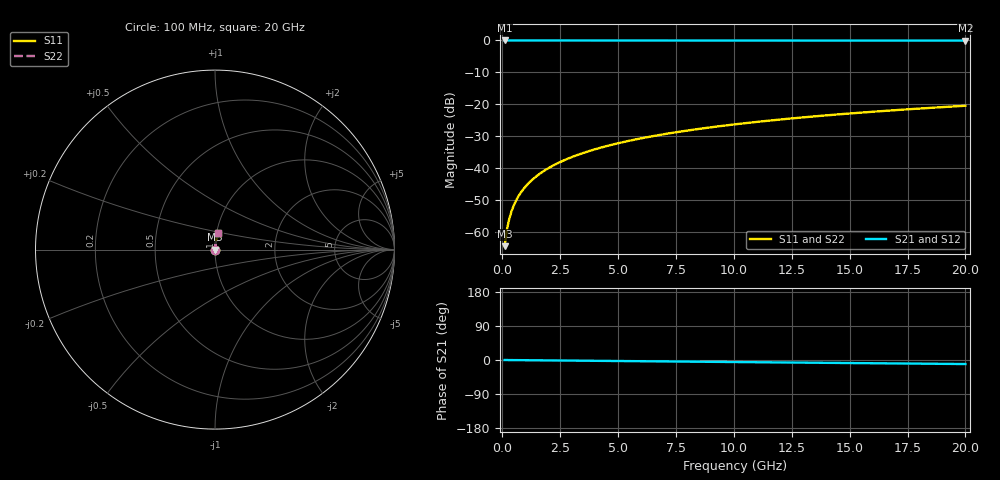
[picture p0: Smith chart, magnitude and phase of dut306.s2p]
! Touchstone file exported from HFSS 2026.1.0
!  File:  C:/ffzhzh/LocalFiles/Ansys_Project_Files/temp_train_TSV_306_1783017995_4048.aedt
!  Generated:  02:48:47 AM Jul  3, 2026
!  Design:  TSV
!  Project:  temp_train_TSV_306_1783017995_4048
! Variables:
!  h_bsmrdl = 2um
!  h_ox = 20um
!  h_rdl = 5um
!  h_sub = 86.7um
!  h_tmrdl = 5um
!  h_tsv = 86.7um
!  h_via = 3um
!  l_bsmrdl = 300um
!  l_sub = 412.58um
!  l_tmrdl = 200um
!  m_sub = 200um
!  pitch = 58.17um
!  r_tsv = 6.29um
!  s_tmrdl = 10um
!  w_bsmrdl = 18um
!  w_sub = 500um
!  w_tmrdl = 12um
!  x_tsv_center1 = 206um
!  x_tsv_center2 = 524um
!  x_tsv_center3 = 736um
!  x_tsv_center4 = 1054um
!  x_tsv_center5 = 1266um
!  x_tsv_center6 = 1584um
# GHz S MA R 50.000000
! Terminal data exported
! Port[1] = TSV1_1_T1
! Port[2] = TSV1_1_T2
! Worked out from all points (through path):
!   200 points, 100 MHz to 20 GHz, reference 50 ohm
!   highest |S21| = 0.00 dB at 100 MHz (marker M1); lowest = -0.1 dB at 20 GHz (marker M2)
!   group delay of S21, straight-line fit = 1.48 ps
!   lowest |S11| = -64.5 dB at 100 MHz (marker M3), VSWR 1.00, Z = 50 + j0.0521 ohm
!   |S11| at or under -10 dB: start of sweep to end of sweep
!   |S22| runs from -64.5 to -20.5 dB; largest |S21 - S12| = 2e-15
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0.1  0.0005931 61.5  0.9997 -0.1  0.9997 -0.1  0.0005931 61.5
! Gamma 0 0 0 0
! Port Impedance 50 0 50 0
0.2  0.001081 74.3  0.9997 -0.1  0.9997 -0.1  0.001081 74.3
0.3  0.001588 78.8  0.9997 -0.2  0.9997 -0.2  0.001588 78.8
0.4  0.002097 80.9  0.9997 -0.2  0.9997 -0.2  0.002097 80.9
0.5  0.002604 82.2  0.9997 -0.3  0.9997 -0.3  0.002604 82.2
0.6  0.003108 83.0  0.9996 -0.3  0.9996 -0.3  0.003108 83.0
0.7  0.003609 83.5  0.9996 -0.4  0.9996 -0.4  0.003609 83.5
0.8  0.004107 83.9  0.9996 -0.4  0.9996 -0.4  0.004107 83.9
1  0.005095 84.4  0.9995 -0.6  0.9995 -0.6  0.005095 84.4
1.4  0.007052 85.0  0.9995 -0.8  0.9995 -0.8  0.007052 85.0
1.7  0.008511 85.3  0.9994 -0.9  0.9994 -0.9  0.008511 85.3
2  0.009967 85.4  0.9993 -1.1  0.9993 -1.1  0.009967 85.4
2.7  0.01335 85.6  0.9992 -1.5  0.9992 -1.5  0.01335 85.6
3.5  0.01721 85.5  0.9991 -1.9  0.9991 -1.9  0.01721 85.5
4.2  0.02057 85.3  0.9989 -2.3  0.9989 -2.3  0.02057 85.3
5  0.0244 85.1  0.9988 -2.7  0.9988 -2.7  0.0244 85.1
6.8  0.03297 84.4  0.9984 -3.7  0.9984 -3.7  0.03297 84.4
8.3  0.04008 83.8  0.998 -4.5  0.998 -4.5  0.04008 83.8
10.1  0.04858 83.0  0.9975 -5.4  0.9975 -5.4  0.04858 83.0
13.4  0.06407 81.5  0.9964 -7.2  0.9964 -7.2  0.06407 81.5
16.7  0.07942 79.9  0.9951 -8.9  0.9951 -8.9  0.07942 79.9
20  0.09461 78.2  0.9936 -10.6  0.9936 -10.6  0.09461 78.2
